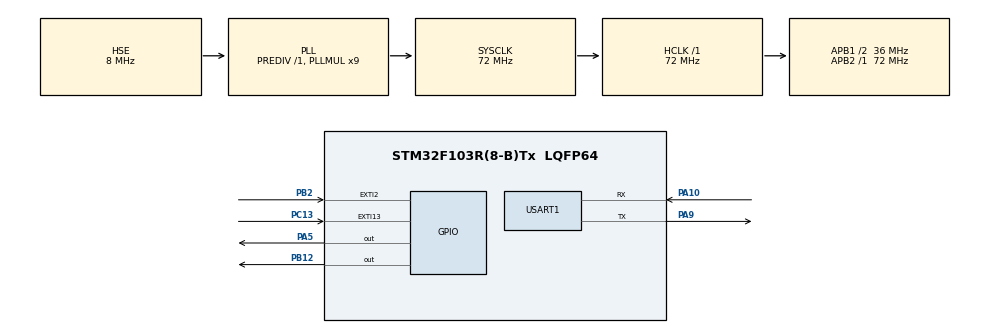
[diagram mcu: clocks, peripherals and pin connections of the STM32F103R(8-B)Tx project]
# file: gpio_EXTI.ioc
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Mcu.Family=STM32F1
Mcu.Name=STM32F103R(8-B)Tx
Mcu.Package=LQFP64
NVIC.EXTI15_10_IRQn=true\:0\:0\:false\:false\:true\:true\:true\:true
NVIC.EXTI2_IRQn=true\:0\:0\:false\:false\:true\:true\:true\:true
NVIC.PriorityGroup=NVIC_PRIORITYGROUP_4
PA10.Mode=Asynchronous
PA10.Signal=USART1_RX
PA13.Mode=Serial_Wire
PA13.Signal=SYS_JTMS-SWDIO
PA14.Mode=Serial_Wire
PA14.Signal=SYS_JTCK-SWCLK
PA5.Signal=GPIO_Output
PA9.Mode=Asynchronous
PA9.Signal=USART1_TX
PB12.Signal=GPIO_Output
PB2.Signal=GPXTI2
PC13-TAMPER-RTC.GPIO_ModeDefaultEXTI=GPIO_MODE_IT_FALLING
PC13-TAMPER-RTC.Signal=GPXTI13
PD0-OSC_IN.Mode=HSE-External-Oscillator
PD0-OSC_IN.Signal=RCC_OSC_IN
PD1-OSC_OUT.Mode=HSE-External-Oscillator
PD1-OSC_OUT.Signal=RCC_OSC_OUT
ProjectManager.HeapSize=0x200
ProjectManager.StackSize=0x400
ProjectManager.TargetToolchain=STM32CubeIDE
RCC.AHBFreq_Value=72000000
RCC.APB1CLKDivider=RCC_HCLK_DIV2
RCC.APB1Freq_Value=36000000
RCC.APB1TimFreq_Value=72000000
RCC.APB2Freq_Value=72000000
RCC.APB2TimFreq_Value=72000000
RCC.HCLKFreq_Value=72000000
RCC.PLLMUL=RCC_PLL_MUL9
RCC.PLLSourceVirtual=RCC_PLLSOURCE_HSE
RCC.SYSCLKFreq_VALUE=72000000
RCC.SYSCLKSource=RCC_SYSCLKSOURCE_PLLCLK
RCC.USBFreq_Value=72000000
USART1.VirtualMode=VM_ASYNC
board=custom

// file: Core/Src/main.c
/* USER CODE BEGIN Header */
/**
  ******************************************************************************
  * @file           : main.c
  * @brief          : Main program body
  ******************************************************************************
  * @attention
  *
  * Copyright (c) 2024 STMicroelectronics.
  * All rights reserved.
  *
  * This software is licensed under terms that can be found in the LICENSE file
  * in the root directory of this software component.
  * If no LICENSE file comes with this software, it is provided AS-IS.
  *
  ******************************************************************************
  */
/* USER CODE END Header */
#include "main.h"
#include "usart.h"
#include "gpio.h"

/* USER CODE BEGIN PV */
uint32_t GPIO_Toggle_Speed=300;
/* USER CODE END PV */

void SystemClock_Config(void);
/* USER CODE BEGIN PFP */

int __io_putchar(int ch){
	HAL_UART_Transmit(&huart1,(uint8_t *)&ch,1,100);
	return 0;
}

void HAL_GPIO_EXTI_Callback(uint16_t GPIO_Pin)
{
	if(GPIO_Pin==GPIO_PIN_13){
		printf("GPIO PC13 Interrupt occurs!\n");
		if(GPIO_Toggle_Speed>=1000){
			GPIO_Toggle_Speed=GPIO_Toggle_Speed;
			printf("toggle speed is 1sec. it is too long to increase.\n");
		}
		else if(GPIO_Toggle_Speed<1000){
			GPIO_Toggle_Speed+=100;
			printf("plus toggle speed!\n");
		}
	}
	if(GPIO_Pin==GPIO_PIN_2){
		printf("GPIO PB2 Interrupt occurs!\n");
		if(GPIO_Toggle_Speed<=100){
			GPIO_Toggle_Speed=GPIO_Toggle_Speed;
			printf("toggle speed is 0.1sec. it is too fast to decrease.\n");
		}
		else if(GPIO_Toggle_Speed>100){
			GPIO_Toggle_Speed-=100;
			printf("minus toggle speed!\n");
		}
	}
	UNUSED(GPIO_Pin);
}
/* USER CODE END PFP */

int main(void)
{

  /* MCU Configuration--------------------------------------------------------*/

  /* Reset of all peripherals, Initializes the Flash interface and the Systick. */
  HAL_Init();

  /* Configure the system clock */
  SystemClock_Config();

  /* Initialize all configured peripherals */
  MX_GPIO_Init();
  MX_USART1_UART_Init();
  /* USER CODE BEGIN 2 */
  uint32_t pretime=HAL_GetTick();
  /* USER CODE END 2 */

  /* Infinite loop */
  /* USER CODE BEGIN WHILE */
  while (1)
  {
	  if(HAL_GetTick()-pretime>GPIO_Toggle_Speed){
		  HAL_GPIO_TogglePin(GPIOB,GPIO_PIN_12);
		  HAL_GPIO_TogglePin(GPIOA,GPIO_PIN_5);
		  pretime=HAL_GetTick();
	  }
    /* USER CODE END WHILE */

  }
}

void SystemClock_Config(void)
{
  RCC_OscInitTypeDef RCC_OscInitStruct = {0};
  RCC_ClkInitTypeDef RCC_ClkInitStruct = {0};

  /** Initializes the RCC Oscillators according to the specified parameters
  * in the RCC_OscInitTypeDef structure.
  */
  RCC_OscInitStruct.OscillatorType = RCC_OSCILLATORTYPE_HSE;
  RCC_OscInitStruct.HSEState = RCC_HSE_ON;
  RCC_OscInitStruct.HSEPredivValue = RCC_HSE_PREDIV_DIV1;
  RCC_OscInitStruct.HSIState = RCC_HSI_ON;
  RCC_OscInitStruct.PLL.PLLState = RCC_PLL_ON;
  RCC_OscInitStruct.PLL.PLLSource = RCC_PLLSOURCE_HSE;
  RCC_OscInitStruct.PLL.PLLMUL = RCC_PLL_MUL9;
  if (HAL_RCC_OscConfig(&RCC_OscInitStruct) != HAL_OK)
  {
    Error_Handler();
  }

  /** Initializes the CPU, AHB and APB buses clocks
  */
  RCC_ClkInitStruct.ClockType = RCC_CLOCKTYPE_HCLK|RCC_CLOCKTYPE_SYSCLK
                              |RCC_CLOCKTYPE_PCLK1|RCC_CLOCKTYPE_PCLK2;
  RCC_ClkInitStruct.SYSCLKSource = RCC_SYSCLKSOURCE_PLLCLK;
  RCC_ClkInitStruct.AHBCLKDivider = RCC_SYSCLK_DIV1;
  RCC_ClkInitStruct.APB1CLKDivider = RCC_HCLK_DIV2;
  RCC_ClkInitStruct.APB2CLKDivider = RCC_HCLK_DIV1;

  if (HAL_RCC_ClockConfig(&RCC_ClkInitStruct, FLASH_LATENCY_2) != HAL_OK)
  {
    Error_Handler();
  }
}

void Error_Handler(void)
{
  __disable_irq();
  while (1)
  {
  }
}
